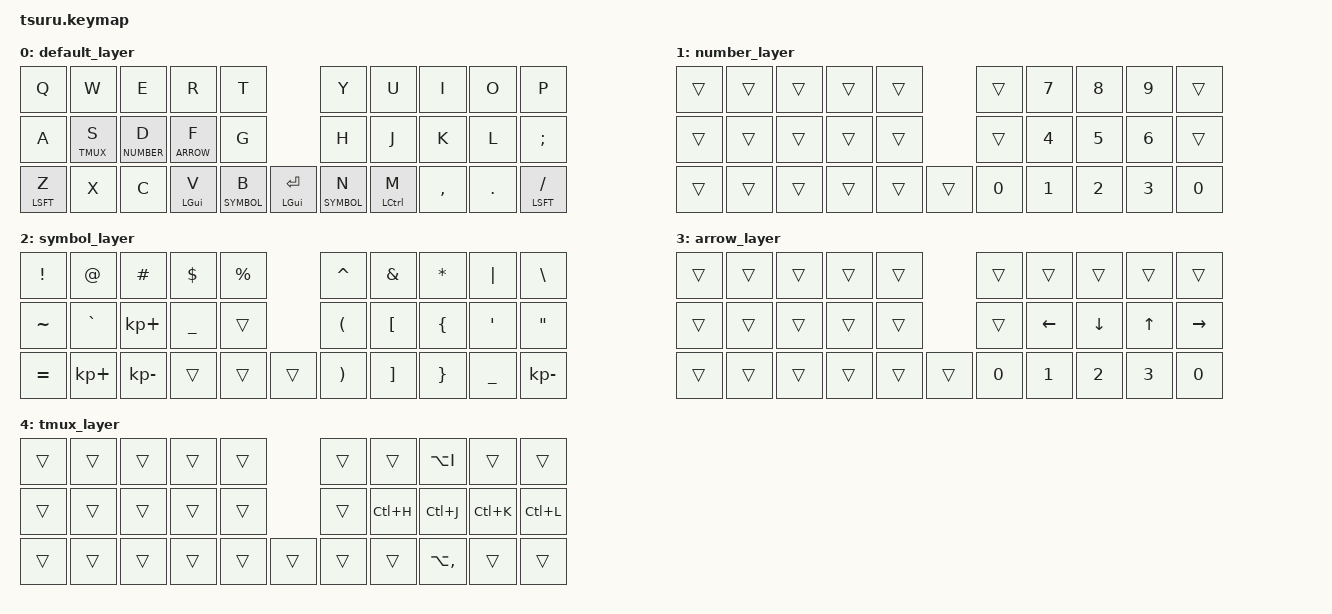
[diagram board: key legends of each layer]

#include <behaviors.dtsi>
#include <dt-bindings/zmk/keys.h>


/ { 
    combos {
        compatible = "zmk,combos";
        combo_esc {
            timeout-ms = <50>;
            key-positions = <7 8>;
            bindings = <&kp ESC>;
        };
        combo_del {
            timeout-ms = <50>;
            key-positions = <15 16>;
            bindings = <&kp BSPC>;
        };
        combo_tab {
            timeout-ms = <50>;
            key-positions = <16 17>;
            bindings = <&kp TAB>;
        };

        combo_spc {
            timeout-ms = <50>;
            key-positions = <17 18>;
            bindings = <&kp SPACE>;
        };
        
         combo_alt {
            timeout-ms = <50>;
            key-positions = <25 26>;
            bindings = <&kp LALT>;
        };
        
    };

#define BASE 0
#define NUMBER 1
#define SYMBOL 2
#define ARROW 3
#define TMUX 4


    keymap {
        compatible = "zmk,keymap";

        default_layer {
            bindings = <

           &kp Q    &kp W    &kp  E    &kp R    &kp T                                       &kp Y    &kp U    &kp I    &kp O    &kp P 
           &kp A   &lt TMUX S &lt NUMBER D  &lt ARROW F  &kp G                                    &kp H    &kp J    &kp K    &kp L    &kp SEMICOLON
           &mt LSFT Z    &kp X    &kp C    &mt LGUI V    &lt SYMBOL B          &mt LGUI ENTER     &lt SYMBOL N    &mt LCTRL M    &kp CMMA    &kp DOT    &mt LSFT SLASH
            >;
        };

        number_layer {
            bindings = <
              &trans    &trans    &trans    &trans    &trans                         &trans    &kp N7 &kp N8 &kp N9    &trans     
              &trans    &trans    &trans    &trans    &trans                         &trans    &kp N4 &kp N5 &kp N6    &trans 
              &trans    &trans    &trans    &trans    &trans       &trans            &kp N0    &kp N1 &kp N2 &kp N3    &kp N0
            >;
        };

        symbol_layer {
            bindings = <
              &kp EXCL &kp AT    &kp HASH &kp DOLLAR &kp PERCENT                               &kp CARET &kp AMPERSAND &kp ASTERISK  &kp PIPE &kp BACKSLASH
              &kp TILDE    &kp GRAVE    &kp KP_PLUS    &kp UNDER    &trans                     &kp LPAR    &kp LBKT    &kp LBRC    &kp SQT    &kp DQT  
              &kp EQUAL    &kp KP_PLUS    &kp KP_MINUS    &trans    &trans    &trans           &kp RPAR    &kp RBKT    &kp RBRC    &kp UNDER    &kp KP_MINUS  
            >;
        };

        arrow_layer {
            bindings = <
              &trans    &trans    &trans    &trans    &trans                         &trans    &trans    &trans    &trans    &trans    
              &trans    &trans    &trans    &trans    &trans                         &trans    &kp LEFT  &kp DOWN    &kp UP  &kp RIGHT  
              &trans    &trans    &trans    &trans    &trans       &trans            &kp N0    &kp N1 &kp N2 &kp N3    &kp N0
            >;
        };

        tmux_layer {
            bindings = <
              &trans    &trans    &trans    &trans    &trans                         &trans    &trans    &kp LA(I)    &trans    &trans     
              &trans    &trans    &trans    &trans    &trans                         &trans    &kp LC(H) &kp LC(J)    &kp LC(K)    &kp LC(L)
              &trans    &trans    &trans    &trans    &trans    &trans               &trans    &trans    &kp LA(COMMA)    &trans    &trans 
            >;
        };
    };
};
